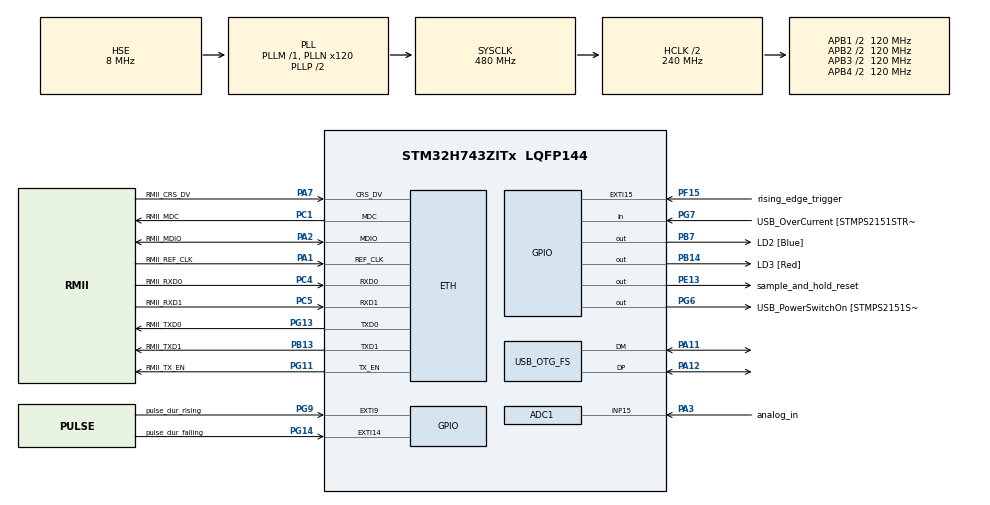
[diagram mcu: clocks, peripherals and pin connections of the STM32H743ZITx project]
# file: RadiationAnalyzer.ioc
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ADC1.Channel-8\#ChannelRegularConversion=ADC_CHANNEL_15
ADC1.ClockPrescaler=ADC_CLOCK_ASYNC_DIV4
ADC1.ContinuousConvMode=DISABLE
ADC1.ConversionDataManagement=ADC_CONVERSIONDATA_DMA_CIRCULAR
ADC1.DiscontinuousConvMode=ENABLE
ADC1.EOCSelection=ADC_EOC_SEQ_CONV
ADC1.EnableInjectedConversion=DISABLE
ADC1.EnableRegularConversion=ENABLE
ADC1.NbrOfConversion=1
ADC1.NbrOfConversionFlag=1
ADC1.NbrOfDiscConversion=1
ADC1.OffsetNumber-8\#ChannelRegularConversion=ADC_OFFSET_NONE
ADC1.Overrun=ADC_OVR_DATA_PRESERVED
ADC1.OversamplingMode=DISABLE
ADC1.Rank-8\#ChannelRegularConversion=1
ADC1.Resolution=ADC_RESOLUTION_12B
ADC1.SamplingTime-8\#ChannelRegularConversion=ADC_SAMPLETIME_8CYCLES_5
ADC1.master=1
Dma.ADC1.0.Direction=DMA_PERIPH_TO_MEMORY
Dma.ADC1.0.EventEnable=DISABLE
Dma.ADC1.0.FIFOMode=DMA_FIFOMODE_DISABLE
Dma.ADC1.0.Instance=DMA1_Stream0
Dma.ADC1.0.MemDataAlignment=DMA_MDATAALIGN_HALFWORD
Dma.ADC1.0.MemInc=DMA_MINC_ENABLE
Dma.ADC1.0.Mode=DMA_CIRCULAR
Dma.ADC1.0.PeriphDataAlignment=DMA_PDATAALIGN_HALFWORD
Dma.ADC1.0.PeriphInc=DMA_PINC_DISABLE
Dma.ADC1.0.Polarity=HAL_DMAMUX_REQ_GEN_RISING
Dma.ADC1.0.Priority=DMA_PRIORITY_VERY_HIGH
Dma.ADC1.0.RequestNumber=1
Dma.ADC1.0.SignalID=NONE
Dma.ADC1.0.SyncEnable=DISABLE
Dma.ADC1.0.SyncPolarity=HAL_DMAMUX_SYNC_NO_EVENT
Dma.ADC1.0.SyncRequestNumber=1
Dma.ADC1.0.SyncSignalID=NONE
Dma.Request0=ADC1
ETH.MediaInterface=HAL_ETH_RMII_MODE
Mcu.Family=STM32H7
Mcu.Name=STM32H743ZITx
Mcu.Package=LQFP144
NVIC.ADC_IRQn=true\:0\:0\:false\:false\:true\:true\:true
NVIC.DMA1_Stream0_IRQn=true\:0\:0\:false\:false\:true\:false\:true
NVIC.EXTI15_10_IRQn=true\:0\:0\:false\:false\:true\:true\:true
NVIC.EXTI9_5_IRQn=true\:0\:0\:false\:false\:true\:true\:true
NVIC.OTG_FS_IRQn=true\:0\:0\:false\:false\:true\:false\:true
NVIC.PriorityGroup=NVIC_PRIORITYGROUP_4
NVIC.TIM16_IRQn=true\:0\:0\:false\:false\:true\:true\:true
PA1.GPIO_Label=RMII_REF_CLK
PA1.Mode=RMII
PA1.Signal=ETH_REF_CLK
PA10.GPIO_Label=USB_ID
PA10.Signal=USB_OTG_FS_ID
PA11.GPIO_Mode=GPIO_MODE_AF_PP
PA11.GPIO_PuPd=GPIO_NOPULL
PA11.GPIO_Speed=GPIO_SPEED_FREQ_LOW
PA11.Mode=Device_Only
PA11.Signal=USB_OTG_FS_DM
PA12.GPIO_Mode=GPIO_MODE_AF_PP
PA12.GPIO_PuPd=GPIO_NOPULL
PA12.GPIO_Speed=GPIO_SPEED_FREQ_LOW
PA12.Mode=Device_Only
PA12.Signal=USB_OTG_FS_DP
PA2.GPIO_Label=RMII_MDIO
PA2.Mode=RMII
PA2.Signal=ETH_MDIO
PA3.GPIO_Label=analog_in
PA3.Signal=ADCx_INP15
PA7.GPIO_Label=RMII_CRS_DV
PA7.Mode=RMII
PA7.Signal=ETH_CRS_DV
PA8.GPIO_Label=USB_SOF [TP1]
PA8.Signal=USB_OTG_FS_SOF
PA9.GPIO_Label=USB_VBUS
PA9.Signal=USB_OTG_FS_VBUS
PB13.GPIO_Label=RMII_TXD1
PB13.Mode=RMII
PB13.Signal=ETH_TXD1
PB14.GPIO_Label=LD3 [Red]
PB14.Signal=GPIO_Output
PB7.GPIO_Label=LD2 [Blue]
PB7.Signal=GPIO_Output
PC1.GPIO_Label=RMII_MDC
PC1.Mode=RMII
PC1.Signal=ETH_MDC
PC14-OSC32_IN\ (OSC32_IN).Signal=RCC_OSC32_IN
PC15-OSC32_OUT\ (OSC32_OUT).Signal=RCC_OSC32_OUT
PC4.GPIO_Label=RMII_RXD0
PC4.Mode=RMII
PC4.Signal=ETH_RXD0
PC5.GPIO_Label=RMII_RXD1
PC5.Mode=RMII
PC5.Signal=ETH_RXD1
PE13.GPIO_Label=sample_and_hold_reset
PE13.GPIO_ModeDefaultOutputPP=GPIO_MODE_OUTPUT_PP
PE13.GPIO_PuPd=GPIO_PULLDOWN
PE13.GPIO_Speed=GPIO_SPEED_FREQ_VERY_HIGH
PE13.PinState=GPIO_PIN_RESET
PE13.Signal=GPIO_Output
PF15.GPIO_Label=rising_edge_trigger
PF15.GPIO_PuPd=GPIO_PULLDOWN
PF15.Signal=GPXTI15
PG11.GPIO_Label=RMII_TX_EN
PG11.Mode=RMII
PG11.Signal=ETH_TX_EN
PG13.GPIO_Label=RMII_TXD0
PG13.Mode=RMII
PG13.Signal=ETH_TXD0
PG14.GPIO_Label=pulse_dur_falling
PG14.GPIO_ModeDefaultEXTI=GPIO_MODE_IT_FALLING
PG14.GPIO_PuPd=GPIO_PULLDOWN
PG14.Signal=GPXTI14
PG6.GPIO_Label=USB_PowerSwitchOn [STMPS2151STR_EN]
PG6.Signal=GPIO_Output
PG7.GPIO_Label=USB_OverCurrent [STMPS2151STR_FAULT]
PG7.Signal=GPIO_Input
PG9.GPIO_Label=pulse_dur_rising
PG9.GPIO_ModeDefaultEXTI=GPIO_MODE_IT_RISING
PG9.GPIO_PuPd=GPIO_PULLDOWN
PG9.Signal=GPXTI9
PH0-OSC_IN\ (PH0).GPIO_Label=MCO
PH0-OSC_IN\ (PH0).Mode=HSE-External-Oscillator
PH0-OSC_IN\ (PH0).Signal=RCC_OSC_IN
PH1-OSC_OUT\ (PH1).Mode=HSE-External-Oscillator
PH1-OSC_OUT\ (PH1).Signal=RCC_OSC_OUT
ProjectManager.HeapSize=0x200
ProjectManager.StackSize=0x400
ProjectManager.TargetToolchain=STM32CubeIDE
RCC.48MHZClocksFreq_Value=24000000
RCC.ADCFreq_Value=150000000
RCC.AHBFreq_Value=216000000
RCC.APB1CLKDivider=RCC_HCLK_DIV4
RCC.APB1Freq_Value=120000000
RCC.APB1TimFreq_Value=108000000
RCC.APB2CLKDivider=RCC_HCLK_DIV2
RCC.APB2Freq_Value=120000000
RCC.APB2TimFreq_Value=216000000
RCC.APB3Freq_Value=120000000
RCC.APB4Freq_Value=120000000
RCC.CortexFreq_Value=480000000
RCC.D1PPRE=RCC_APB3_DIV2
RCC.D2PPRE1=RCC_APB1_DIV2
RCC.D2PPRE2=RCC_APB2_DIV2
RCC.D3PPRE=RCC_APB4_DIV2
RCC.DIVM1=1
RCC.DIVM2=1
RCC.DIVM3=1
RCC.DIVN1=120
RCC.DIVN2=18
RCC.DIVN3=21
RCC.DIVP2=1
RCC.DIVQ1=15
RCC.DIVQ3=7
RCC.EnbaleCSS=false
RCC.HCLKFreq_Value=240000000
RCC.HPRE=RCC_HCLK_DIV2
RCC.HSE_VALUE=8000000
RCC.HSI_VALUE=64000000
RCC.PLL1_VCI_Range-AdvancedSettings=RCC_PLL1VCIRANGE_0
RCC.PLL2FRACN=6144
RCC.PLL2_VCI_Range-AdvancedSettings=RCC_PLL2VCIRANGE_0
RCC.PLL3FRACN=0
RCC.PLLFRACN=0
RCC.PLLM=25
RCC.PLLMUL=RCC_PLL_MUL9
RCC.PLLN=432
RCC.PLLQ=9
RCC.PLLSourceVirtual=RCC_PLLSOURCE_HSE
RCC.PRESCALERUSB=RCC_USBCLKSOURCE_PLL_DIV1_5
RCC.PWR_Regulator_Voltage_Scale=PWR_REGULATOR_VOLTAGE_SCALE0
RCC.SYSCLKFreq_VALUE=480000000
RCC.SYSCLKSource=RCC_SYSCLKSOURCE_PLLCLK
RCC.SYSCLKSourceVirtual=RCC_SYSCLKSOURCE_PLLCLK
RCC.USBCLockSelection=RCC_USBCLKSOURCE_HSI48
RCC.USBFreq_Value=48000000
RCC.VCOOutputFreq_Value=432000000
SH.ADCx_INP15.0=ADC1_INP15,IN15-Single-Ended
TIM16.Period=10000-1
TIM16.Prescaler=18000
USB_DEVICE.CLASS_NAME_FS=CDC
USB_DEVICE.VirtualMode-CDC_FS=Cdc
USB_DEVICE.VirtualModeFS=Cdc_FS
USB_OTG_FS.VirtualMode=Device_Only
VP_RTC_VS_RTC_Activate.Mode=RTC_Enabled
VP_TIM16_VS_ClockSourceINT.Mode=Enable_Timer
VP_USB_DEVICE_VS_USB_DEVICE_CDC_FS.Mode=CDC_FS
board=NUCLEO-H743ZI

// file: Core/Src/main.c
/* USER CODE BEGIN Header */
/**
  ******************************************************************************
  * @file           : main.c
  * @brief          : Main program body
  ******************************************************************************
  * @attention
  *
  * <h2><center>&copy; Copyright (c) 2021 STMicroelectronics.
  * All rights reserved.</center></h2>
  *
  * This software component is licensed by ST under BSD 3-Clause license,
  * the "License"; You may not use this file except in compliance with the
  * License. You may obtain a copy of the License at:
  *                        opensource.org/licenses/BSD-3-Clause
  *
  ******************************************************************************
  */
/* USER CODE END Header */
#include "main.h"
#include "string.h"
#include "usb_device.h"

/* USER CODE BEGIN Includes */
#include "usbd_cdc_if.h"
#include "string.h"
/* USER CODE END Includes */

/* USER CODE BEGIN PD */

//number of ADC samples to average (16bit samples to save)
#define ADC_BUF_LEN 10

/* USER CODE END PD */

#if defined ( __ICCARM__ ) /*!< IAR Compiler */

#pragma location=0x30040000
ETH_DMADescTypeDef  DMARxDscrTab[ETH_RX_DESC_CNT]; /* Ethernet Rx DMA Descriptors */
#pragma location=0x30040060
ETH_DMADescTypeDef  DMATxDscrTab[ETH_TX_DESC_CNT]; /* Ethernet Tx DMA Descriptors */
#pragma location=0x300400c0
uint8_t Rx_Buff[ETH_RX_DESC_CNT][ETH_MAX_PACKET_SIZE]; /* Ethernet Receive Buffers */

#elif defined ( __CC_ARM )  /* MDK ARM Compiler */

__attribute__((at(0x30040000))) ETH_DMADescTypeDef  DMARxDscrTab[ETH_RX_DESC_CNT]; /* Ethernet Rx DMA Descriptors */
__attribute__((at(0x30040060))) ETH_DMADescTypeDef  DMATxDscrTab[ETH_TX_DESC_CNT]; /* Ethernet Tx DMA Descriptors */
__attribute__((at(0x300400c0))) uint8_t Rx_Buff[ETH_RX_DESC_CNT][ETH_MAX_PACKET_SIZE]; /* Ethernet Receive Buffer */

#elif defined ( __GNUC__ ) /* GNU Compiler */

ETH_DMADescTypeDef DMARxDscrTab[ETH_RX_DESC_CNT] __attribute__((section(".RxDecripSection"))); /* Ethernet Rx DMA Descriptors */
ETH_DMADescTypeDef DMATxDscrTab[ETH_TX_DESC_CNT] __attribute__((section(".TxDecripSection")));   /* Ethernet Tx DMA Descriptors */
uint8_t Rx_Buff[ETH_RX_DESC_CNT][ETH_MAX_PACKET_SIZE] __attribute__((section(".RxArraySection"))); /* Ethernet Receive Buffers */

#endif

ETH_TxPacketConfig TxConfig;
ADC_HandleTypeDef hadc1;
DMA_HandleTypeDef hdma_adc1;

ETH_HandleTypeDef heth;

RTC_HandleTypeDef hrtc;

TIM_HandleTypeDef htim16;

void SystemClock_Config(void);
static void MX_GPIO_Init(void);
static void MX_DMA_Init(void);
static void MX_ETH_Init(void);
static void MX_ADC1_Init(void);
static void MX_TIM16_Init(void);
static void MX_RTC_Init(void);

/* USER CODE BEGIN 0 */
static uint16_t adc_dma_buf [ADC_BUF_LEN];
static uint16_t pulse_ampl_cnt_arr [4096] = {0};
static uint32_t pulse_cnt = 0;

static uint32_t time_cnt = 0;
static uint32_t rising_slope_cnt = 0;

uint8_t conv_cplt = 0;

/* USER CODE END 0 */

int main(void)
{

  /* MCU Configuration--------------------------------------------------------*/

  /* Reset of all peripherals, Initializes the Flash interface and the Systick. */
  HAL_Init();

  /* Configure the system clock */
  SystemClock_Config();

  /* Initialize all configured peripherals */
  MX_GPIO_Init();
  MX_DMA_Init();
  MX_ETH_Init();
  MX_ADC1_Init();
  MX_TIM16_Init();
  MX_RTC_Init();
  MX_USB_DEVICE_Init();
  /* USER CODE BEGIN 2 */

  //Start timer
  HAL_TIM_Base_Start_IT(&htim16);

  //ADC calibration
  if(HAL_OK != HAL_ADCEx_Calibration_Start(&hadc1,ADC_CALIB_OFFSET_LINEARITY,ADC_SINGLE_ENDED) && HAL_ADCEx_Calibration_Start(&hadc1,ADC_CALIB_OFFSET,ADC_SINGLE_ENDED)){
	  Error_Handler();
  }

  //start ADC DMA
  if(HAL_OK != HAL_ADC_Start_DMA(&hadc1, (uint32_t*)adc_dma_buf, ADC_BUF_LEN)){
	  Error_Handler();
  }

  // Initialize spectral array to zeros
  memset(pulse_ampl_cnt_arr, 0, sizeof(pulse_ampl_cnt_arr));

  //init message
  HAL_Delay(1000);
  uint8_t buffer[] = "Radiation Analyzer init!\r\n";
  CDC_Transmit_FS(buffer, sizeof(buffer));
  /* USER CODE END 2 */

  /* Infinite loop */
  /* USER CODE BEGIN WHILE */
  while (1)
  {
	    // simple led signal that program is working
		HAL_GPIO_WritePin(GPIOB, GPIO_PIN_14, SET);
		HAL_Delay(1000);
	    //
	    // INTERRUPTS ARE NOT A GOOD PLACE TO DO SEND DATA OR PRINT!
	    //
		HAL_GPIO_WritePin(GPIOB, GPIO_PIN_14, RESET);
		HAL_Delay(1000);
		//GPIOC->ODR = 1 << 3;
		//GPIOC->ODR = 0;

		// TODO add collected data printing to UART
		//	uint8_t buffer2[128];
		//	sprintf(buffer2, "ADC: %d %d %d %d %d %d %d %d %d %d\n\r", adc_dma_buf[0],adc_dma_buf[1],adc_dma_buf[2],adc_dma_buf[3],adc_dma_buf[4],adc_dma_buf[5],adc_dma_buf[6],adc_dma_buf[7],adc_dma_buf[8],adc_dma_buf[9]);
		//	CDC_Transmit_FS(buffer2, sizeof(buffer2));

    /* USER CODE END WHILE */

  }
}

void SystemClock_Config(void)
{
  RCC_OscInitTypeDef RCC_OscInitStruct = {0};
  RCC_ClkInitTypeDef RCC_ClkInitStruct = {0};

  /** Supply configuration update enable
  */
  HAL_PWREx_ConfigSupply(PWR_LDO_SUPPLY);
  /** Configure the main internal regulator output voltage
  */
  __HAL_PWR_VOLTAGESCALING_CONFIG(PWR_REGULATOR_VOLTAGE_SCALE0);

  while(!__HAL_PWR_GET_FLAG(PWR_FLAG_VOSRDY)) {}
  /** Macro to configure the PLL clock source
  */
  __HAL_RCC_PLL_PLLSOURCE_CONFIG(RCC_PLLSOURCE_HSE);
  /** Initializes the RCC Oscillators according to the specified parameters
  * in the RCC_OscInitTypeDef structure.
  */
  RCC_OscInitStruct.OscillatorType = RCC_OSCILLATORTYPE_HSI48|RCC_OSCILLATORTYPE_LSI
                              |RCC_OSCILLATORTYPE_HSE;
  RCC_OscInitStruct.HSEState = RCC_HSE_ON;
  RCC_OscInitStruct.LSIState = RCC_LSI_ON;
  RCC_OscInitStruct.HSI48State = RCC_HSI48_ON;
  RCC_OscInitStruct.PLL.PLLState = RCC_PLL_ON;
  RCC_OscInitStruct.PLL.PLLSource = RCC_PLLSOURCE_HSE;
  RCC_OscInitStruct.PLL.PLLM = 1;
  RCC_OscInitStruct.PLL.PLLN = 120;
  RCC_OscInitStruct.PLL.PLLP = 2;
  RCC_OscInitStruct.PLL.PLLQ = 15;
  RCC_OscInitStruct.PLL.PLLR = 2;
  RCC_OscInitStruct.PLL.PLLRGE = RCC_PLL1VCIRANGE_3;
  RCC_OscInitStruct.PLL.PLLVCOSEL = RCC_PLL1VCOWIDE;
  RCC_OscInitStruct.PLL.PLLFRACN = 0;
  if (HAL_RCC_OscConfig(&RCC_OscInitStruct) != HAL_OK)
  {
    Error_Handler();
  }
  /** Initializes the CPU, AHB and APB buses clocks
  */
  RCC_ClkInitStruct.ClockType = RCC_CLOCKTYPE_HCLK|RCC_CLOCKTYPE_SYSCLK
                              |RCC_CLOCKTYPE_PCLK1|RCC_CLOCKTYPE_PCLK2
                              |RCC_CLOCKTYPE_D3PCLK1|RCC_CLOCKTYPE_D1PCLK1;
  RCC_ClkInitStruct.SYSCLKSource = RCC_SYSCLKSOURCE_PLLCLK;
  RCC_ClkInitStruct.SYSCLKDivider = RCC_SYSCLK_DIV1;
  RCC_ClkInitStruct.AHBCLKDivider = RCC_HCLK_DIV2;
  RCC_ClkInitStruct.APB3CLKDivider = RCC_APB3_DIV2;
  RCC_ClkInitStruct.APB1CLKDivider = RCC_APB1_DIV2;
  RCC_ClkInitStruct.APB2CLKDivider = RCC_APB2_DIV2;
  RCC_ClkInitStruct.APB4CLKDivider = RCC_APB4_DIV2;

  if (HAL_RCC_ClockConfig(&RCC_ClkInitStruct, FLASH_LATENCY_4) != HAL_OK)
  {
    Error_Handler();
  }
}

static void MX_ADC1_Init(void)
{

  ADC_MultiModeTypeDef multimode = {0};
  ADC_ChannelConfTypeDef sConfig = {0};

  /** Common config
  */
  hadc1.Instance = ADC1;
  hadc1.Init.ClockPrescaler = ADC_CLOCK_ASYNC_DIV4;
  hadc1.Init.Resolution = ADC_RESOLUTION_12B;
  hadc1.Init.ScanConvMode = ADC_SCAN_DISABLE;
  hadc1.Init.EOCSelection = ADC_EOC_SEQ_CONV;
  hadc1.Init.LowPowerAutoWait = DISABLE;
  hadc1.Init.ContinuousConvMode = DISABLE;
  hadc1.Init.NbrOfConversion = 1;
  hadc1.Init.DiscontinuousConvMode = ENABLE;
  hadc1.Init.NbrOfDiscConversion = 1;
  hadc1.Init.ExternalTrigConv = ADC_SOFTWARE_START;
  hadc1.Init.ExternalTrigConvEdge = ADC_EXTERNALTRIGCONVEDGE_NONE;
  hadc1.Init.ConversionDataManagement = ADC_CONVERSIONDATA_DMA_CIRCULAR;
  hadc1.Init.Overrun = ADC_OVR_DATA_PRESERVED;
  hadc1.Init.LeftBitShift = ADC_LEFTBITSHIFT_NONE;
  hadc1.Init.OversamplingMode = DISABLE;
  if (HAL_ADC_Init(&hadc1) != HAL_OK)
  {
    Error_Handler();
  }
  /** Configure the ADC multi-mode
  */
  multimode.Mode = ADC_MODE_INDEPENDENT;
  if (HAL_ADCEx_MultiModeConfigChannel(&hadc1, &multimode) != HAL_OK)
  {
    Error_Handler();
  }
  /** Configure Regular Channel
  */
  sConfig.Channel = ADC_CHANNEL_15;
  sConfig.Rank = ADC_REGULAR_RANK_1;
  sConfig.SamplingTime = ADC_SAMPLETIME_8CYCLES_5;
  sConfig.SingleDiff = ADC_SINGLE_ENDED;
  sConfig.OffsetNumber = ADC_OFFSET_NONE;
  sConfig.Offset = 0;
  if (HAL_ADC_ConfigChannel(&hadc1, &sConfig) != HAL_OK)
  {
    Error_Handler();
  }

}

static void MX_ETH_Init(void)
{

   static uint8_t MACAddr[6];

  heth.Instance = ETH;
  MACAddr[0] = 0x00;
  MACAddr[1] = 0x80;
  MACAddr[2] = 0xE1;
  MACAddr[3] = 0x00;
  MACAddr[4] = 0x00;
  MACAddr[5] = 0x00;
  heth.Init.MACAddr = &MACAddr[0];
  heth.Init.MediaInterface = HAL_ETH_RMII_MODE;
  heth.Init.TxDesc = DMATxDscrTab;
  heth.Init.RxDesc = DMARxDscrTab;
  heth.Init.RxBuffLen = 1524;

  if (HAL_ETH_Init(&heth) != HAL_OK)
  {
    Error_Handler();
  }

  memset(&TxConfig, 0 , sizeof(ETH_TxPacketConfig));
  TxConfig.Attributes = ETH_TX_PACKETS_FEATURES_CSUM | ETH_TX_PACKETS_FEATURES_CRCPAD;
  TxConfig.ChecksumCtrl = ETH_CHECKSUM_IPHDR_PAYLOAD_INSERT_PHDR_CALC;
  TxConfig.CRCPadCtrl = ETH_CRC_PAD_INSERT;

}

static void MX_RTC_Init(void)
{

  /** Initialize RTC Only
  */
  hrtc.Instance = RTC;
  hrtc.Init.HourFormat = RTC_HOURFORMAT_24;
  hrtc.Init.AsynchPrediv = 127;
  hrtc.Init.SynchPrediv = 255;
  hrtc.Init.OutPut = RTC_OUTPUT_DISABLE;
  hrtc.Init.OutPutPolarity = RTC_OUTPUT_POLARITY_HIGH;
  hrtc.Init.OutPutType = RTC_OUTPUT_TYPE_OPENDRAIN;
  hrtc.Init.OutPutRemap = RTC_OUTPUT_REMAP_NONE;
  if (HAL_RTC_Init(&hrtc) != HAL_OK)
  {
    Error_Handler();
  }

}

static void MX_TIM16_Init(void)
{

  htim16.Instance = TIM16;
  htim16.Init.Prescaler = 18000;
  htim16.Init.CounterMode = TIM_COUNTERMODE_UP;
  htim16.Init.Period = 10000-1;
  htim16.Init.ClockDivision = TIM_CLOCKDIVISION_DIV1;
  htim16.Init.RepetitionCounter = 0;
  htim16.Init.AutoReloadPreload = TIM_AUTORELOAD_PRELOAD_DISABLE;
  if (HAL_TIM_Base_Init(&htim16) != HAL_OK)
  {
    Error_Handler();
  }

}

static void MX_DMA_Init(void)
{

  /* DMA controller clock enable */
  __HAL_RCC_DMA1_CLK_ENABLE();

  /* DMA interrupt init */
  /* DMA1_Stream0_IRQn interrupt configuration */
  HAL_NVIC_SetPriority(DMA1_Stream0_IRQn, 0, 0);
  HAL_NVIC_EnableIRQ(DMA1_Stream0_IRQn);

}

static void MX_GPIO_Init(void)
{
  GPIO_InitTypeDef GPIO_InitStruct = {0};

  /* GPIO Ports Clock Enable */
  __HAL_RCC_GPIOC_CLK_ENABLE();
  __HAL_RCC_GPIOH_CLK_ENABLE();
  __HAL_RCC_GPIOA_CLK_ENABLE();
  __HAL_RCC_GPIOF_CLK_ENABLE();
  __HAL_RCC_GPIOE_CLK_ENABLE();
  __HAL_RCC_GPIOB_CLK_ENABLE();
  __HAL_RCC_GPIOG_CLK_ENABLE();

  /*Configure GPIO pin Output Level */
  HAL_GPIO_WritePin(sample_and_hold_reset_GPIO_Port, sample_and_hold_reset_Pin, GPIO_PIN_RESET);

  /*Configure GPIO pin Output Level */
  HAL_GPIO_WritePin(GPIOB, LD3_Pin|LD2_Pin, GPIO_PIN_RESET);

  /*Configure GPIO pin Output Level */
  HAL_GPIO_WritePin(USB_PowerSwitchOn_GPIO_Port, USB_PowerSwitchOn_Pin, GPIO_PIN_RESET);

  /*Configure GPIO pin : rising_edge_trigger_Pin */
  GPIO_InitStruct.Pin = rising_edge_trigger_Pin;
  GPIO_InitStruct.Mode = GPIO_MODE_IT_RISING;
  GPIO_InitStruct.Pull = GPIO_PULLDOWN;
  HAL_GPIO_Init(rising_edge_trigger_GPIO_Port, &GPIO_InitStruct);

  /*Configure GPIO pin : sample_and_hold_reset_Pin */
  GPIO_InitStruct.Pin = sample_and_hold_reset_Pin;
  GPIO_InitStruct.Mode = GPIO_MODE_OUTPUT_PP;
  GPIO_InitStruct.Pull = GPIO_PULLDOWN;
  GPIO_InitStruct.Speed = GPIO_SPEED_FREQ_VERY_HIGH;
  HAL_GPIO_Init(sample_and_hold_reset_GPIO_Port, &GPIO_InitStruct);

  /*Configure GPIO pins : LD3_Pin LD2_Pin */
  GPIO_InitStruct.Pin = LD3_Pin|LD2_Pin;
  GPIO_InitStruct.Mode = GPIO_MODE_OUTPUT_PP;
  GPIO_InitStruct.Pull = GPIO_NOPULL;
  GPIO_InitStruct.Speed = GPIO_SPEED_FREQ_LOW;
  HAL_GPIO_Init(GPIOB, &GPIO_InitStruct);

  /*Configure GPIO pin : USB_PowerSwitchOn_Pin */
  GPIO_InitStruct.Pin = USB_PowerSwitchOn_Pin;
  GPIO_InitStruct.Mode = GPIO_MODE_OUTPUT_PP;
  GPIO_InitStruct.Pull = GPIO_NOPULL;
  GPIO_InitStruct.Speed = GPIO_SPEED_FREQ_LOW;
  HAL_GPIO_Init(USB_PowerSwitchOn_GPIO_Port, &GPIO_InitStruct);

  /*Configure GPIO pin : USB_OverCurrent_Pin */
  GPIO_InitStruct.Pin = USB_OverCurrent_Pin;
  GPIO_InitStruct.Mode = GPIO_MODE_INPUT;
  GPIO_InitStruct.Pull = GPIO_NOPULL;
  HAL_GPIO_Init(USB_OverCurrent_GPIO_Port, &GPIO_InitStruct);

  /*Configure GPIO pin : pulse_dur_rising_Pin */
  GPIO_InitStruct.Pin = pulse_dur_rising_Pin;
  GPIO_InitStruct.Mode = GPIO_MODE_IT_RISING;
  GPIO_InitStruct.Pull = GPIO_PULLDOWN;
  HAL_GPIO_Init(pulse_dur_rising_GPIO_Port, &GPIO_InitStruct);

  /*Configure GPIO pin : pulse_dur_falling_Pin */
  GPIO_InitStruct.Pin = pulse_dur_falling_Pin;
  GPIO_InitStruct.Mode = GPIO_MODE_IT_FALLING;
  GPIO_InitStruct.Pull = GPIO_PULLDOWN;
  HAL_GPIO_Init(pulse_dur_falling_GPIO_Port, &GPIO_InitStruct);

  /* EXTI interrupt init*/
  HAL_NVIC_SetPriority(EXTI9_5_IRQn, 0, 0);
  HAL_NVIC_EnableIRQ(EXTI9_5_IRQn);

  HAL_NVIC_SetPriority(EXTI15_10_IRQn, 0, 0);
  HAL_NVIC_EnableIRQ(EXTI15_10_IRQn);

}

/* USER CODE BEGIN 4 */

void HAL_TIM_PeriodElapsedCallback(TIM_HandleTypeDef *htim)
{
	if(htim == &htim16){
		  HAL_GPIO_TogglePin(GPIOB, GPIO_PIN_7);
		  time_cnt++;
		  static uint8_t sec_buffer[] = "One second elapsed!\r\n";
		  CDC_Transmit_FS(sec_buffer, sizeof(sec_buffer));
		  if(time_cnt%60 == 0) {
			    static uint8_t min_buffer[] = "One minute elapsed!\r\n";
			    CDC_Transmit_FS(min_buffer, sizeof(min_buffer));
		  	  }
	}
}

//ADC DMA CONVERSION COMPLETE INTERRUPT
void HAL_ADC_ConvCpltCallback(ADC_HandleTypeDef* hadc)
{
	conv_cplt = 1;

	// average collected samples
	uint32_t tmp_sum = 0;
	for (uint8_t i = 0; i < ADC_BUF_LEN; ++i) {
		tmp_sum += adc_dma_buf[i];
	    }
	uint16_t avg_sample_val =(uint16_t) (tmp_sum / ADC_BUF_LEN);

	// increment index corresponding to registered amplitude
	pulse_ampl_cnt_arr[avg_sample_val]++;

	// increment pulse count
	pulse_cnt++;

	//reset S&H block
	HAL_GPIO_WritePin(GPIOE, GPIO_PIN_13, SET);
}

//Interrupt handler
void HAL_GPIO_EXTI_Callback(uint16_t GPIO_Pin){

	if(GPIO_Pin == GPIO_PIN_9){
		//pulse duration - rising
		//enable S&H block - peak capture
		HAL_GPIO_WritePin(GPIOE, GPIO_PIN_13, RESET);

	} else if (GPIO_Pin == GPIO_PIN_14){
		//pulse duration falling
		//pulse has reached the peak
		//trigger ADC sampling burst
		SET_BIT(ADC1->CR, ADC_CR_ADSTART);

	} else if (GPIO_Pin == GPIO_PIN_15){
		//rising slope trigger detected
		// TODO: Add detection of pulse overlapping
		// Multiple rising slope triggers during single pulse period - overlapping pulse - discard
		rising_slope_cnt++;

	} else {
		//Unhandled interrupt - exception
	    Error_Handler();
	}

}
/* USER CODE END 4 */

void Error_Handler(void)
{
  __disable_irq();
  while (1)
  {
  }
}
